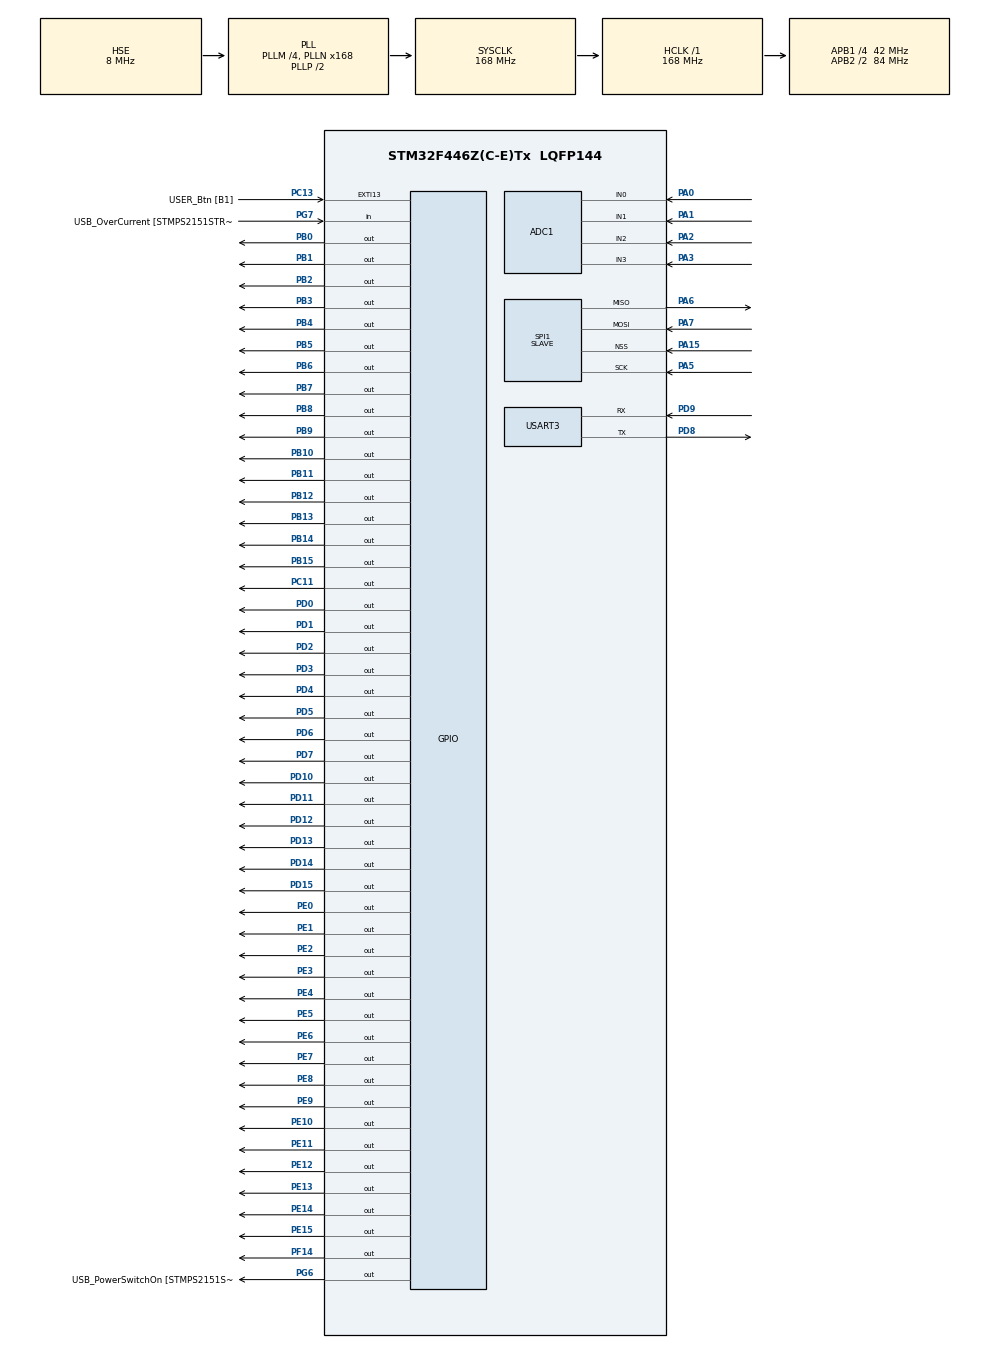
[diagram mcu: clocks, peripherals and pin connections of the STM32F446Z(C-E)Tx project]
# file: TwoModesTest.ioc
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ADC1.Channel-0\#ChannelRegularConversion=ADC_CHANNEL_0
ADC1.Channel-1\#ChannelRegularConversion=ADC_CHANNEL_1
ADC1.Channel-2\#ChannelRegularConversion=ADC_CHANNEL_2
ADC1.Channel-3\#ChannelRegularConversion=ADC_CHANNEL_3
ADC1.ContinuousConvMode=ENABLE
ADC1.DMAContinuousRequests=ENABLE
ADC1.InjNumberOfConversion=0
ADC1.NbrOfConversion=4
ADC1.NbrOfConversionFlag=1
ADC1.Rank-0\#ChannelRegularConversion=1
ADC1.Rank-1\#ChannelRegularConversion=2
ADC1.Rank-2\#ChannelRegularConversion=3
ADC1.Rank-3\#ChannelRegularConversion=4
ADC1.SamplingTime-0\#ChannelRegularConversion=ADC_SAMPLETIME_144CYCLES
ADC1.SamplingTime-1\#ChannelRegularConversion=ADC_SAMPLETIME_144CYCLES
ADC1.SamplingTime-2\#ChannelRegularConversion=ADC_SAMPLETIME_144CYCLES
ADC1.SamplingTime-3\#ChannelRegularConversion=ADC_SAMPLETIME_144CYCLES
ADC1.ScanConvMode=ENABLE
ADC1.master=1
Dma.ADC1.0.Direction=DMA_PERIPH_TO_MEMORY
Dma.ADC1.0.FIFOMode=DMA_FIFOMODE_DISABLE
Dma.ADC1.0.Instance=DMA2_Stream0
Dma.ADC1.0.MemDataAlignment=DMA_MDATAALIGN_HALFWORD
Dma.ADC1.0.MemInc=DMA_MINC_ENABLE
Dma.ADC1.0.Mode=DMA_CIRCULAR
Dma.ADC1.0.PeriphDataAlignment=DMA_PDATAALIGN_HALFWORD
Dma.ADC1.0.PeriphInc=DMA_PINC_DISABLE
Dma.ADC1.0.Priority=DMA_PRIORITY_LOW
Dma.Request0=ADC1
Mcu.Family=STM32F4
Mcu.Name=STM32F446Z(C-E)Tx
Mcu.Package=LQFP144
NVIC.DMA2_Stream0_IRQn=true\:0\:0\:false\:false\:true\:false\:true\:true
NVIC.PriorityGroup=NVIC_PRIORITYGROUP_4
NVIC.SPI1_IRQn=true\:0\:0\:false\:false\:true\:true\:true\:true
NVIC.TIM2_IRQn=true\:0\:0\:false\:false\:true\:true\:true\:true
PA0-WKUP.Signal=ADCx_IN0
PA1.Signal=ADCx_IN1
PA10.GPIO_Label=USB_ID
PA10.Signal=USB_OTG_FS_ID
PA11.GPIO_Label=USB_DM
PA11.Signal=USB_OTG_FS_DM
PA12.GPIO_Label=USB_DP
PA12.Signal=USB_OTG_FS_DP
PA13.GPIO_Label=TMS
PA13.Mode=Serial_Wire
PA13.Signal=SYS_JTMS-SWDIO
PA14.GPIO_Label=TCK
PA14.Mode=Serial_Wire
PA14.Signal=SYS_JTCK-SWCLK
PA15.Mode=NSS_Signal_Hard_Input
PA15.Signal=SPI1_NSS
PA2.Signal=ADCx_IN2
PA3.Signal=ADCx_IN3
PA5.Mode=Full_Duplex_Slave
PA5.Signal=SPI1_SCK
PA6.Mode=Full_Duplex_Slave
PA6.Signal=SPI1_MISO
PA7.Mode=Full_Duplex_Slave
PA7.Signal=SPI1_MOSI
PA8.GPIO_Label=USB_SOF [TP1]
PA8.Signal=USB_OTG_FS_SOF
PA9.GPIO_Label=USB_VBUS
PA9.Signal=USB_OTG_FS_VBUS
PB0.Signal=GPIO_Output
PB1.Signal=GPIO_Output
PB10.Signal=GPIO_Output
PB11.Signal=GPIO_Output
PB12.Signal=GPIO_Output
PB13.Signal=GPIO_Output
PB14.Signal=GPIO_Output
PB15.Signal=GPIO_Output
PB2.Signal=GPIO_Output
PB3.Signal=GPIO_Output
PB4.Signal=GPIO_Output
PB5.Signal=GPIO_Output
PB6.Signal=GPIO_Output
PB7.Signal=GPIO_Output
PB8.Signal=GPIO_Output
PB9.Signal=GPIO_Output
PC11.Signal=GPIO_Output
PC13.GPIO_Label=USER_Btn [B1]
PC13.Signal=GPXTI13
PC14-OSC32_IN.Mode=LSE-External-Oscillator
PC14-OSC32_IN.Signal=RCC_OSC32_IN
PC15-OSC32_OUT.Mode=LSE-External-Oscillator
PC15-OSC32_OUT.Signal=RCC_OSC32_OUT
PD0.Signal=GPIO_Output
PD1.Signal=GPIO_Output
PD10.Signal=GPIO_Output
PD11.Signal=GPIO_Output
PD12.Signal=GPIO_Output
PD13.Signal=GPIO_Output
PD14.Signal=GPIO_Output
PD15.Signal=GPIO_Output
PD2.Signal=GPIO_Output
PD3.Signal=GPIO_Output
PD4.Signal=GPIO_Output
PD5.Signal=GPIO_Output
PD6.Signal=GPIO_Output
PD7.Signal=GPIO_Output
PD8.Mode=Asynchronous
PD8.Signal=USART3_TX
PD9.Mode=Asynchronous
PD9.Signal=USART3_RX
PE0.Signal=GPIO_Output
PE1.Signal=GPIO_Output
PE10.Signal=GPIO_Output
PE11.Signal=GPIO_Output
PE12.Signal=GPIO_Output
PE13.Signal=GPIO_Output
PE14.Signal=GPIO_Output
PE15.Signal=GPIO_Output
PE2.Signal=GPIO_Output
PE3.Signal=GPIO_Output
PE4.Signal=GPIO_Output
PE5.Signal=GPIO_Output
PE6.Signal=GPIO_Output
PE7.Signal=GPIO_Output
PE8.Signal=GPIO_Output
PE9.Signal=GPIO_Output
PF14.Signal=GPIO_Output
PG6.GPIO_Label=USB_PowerSwitchOn [STMPS2151STR_EN]
PG6.Signal=GPIO_Output
PG7.GPIO_Label=USB_OverCurrent [STMPS2151STR_FAULT]
PG7.Signal=GPIO_Input
PH0-OSC_IN.GPIO_Label=MCO [STM32F103CBT6_PA8]
PH0-OSC_IN.Mode=HSE-External-Clock-Source
PH0-OSC_IN.Signal=RCC_OSC_IN
PH1-OSC_OUT.Mode=HSE-External-Clock-Source
PH1-OSC_OUT.Signal=RCC_OSC_OUT
ProjectManager.HeapSize=0x200
ProjectManager.StackSize=0x400
ProjectManager.TargetToolchain=STM32CubeIDE
RCC.48MHZClocksFreq_Value=24000000
RCC.AHBFreq_Value=168000000
RCC.APB1CLKDivider=RCC_HCLK_DIV4
RCC.APB1Freq_Value=42000000
RCC.APB1TimFreq_Value=84000000
RCC.APB2CLKDivider=RCC_HCLK_DIV2
RCC.APB2Freq_Value=84000000
RCC.APB2TimFreq_Value=168000000
RCC.CortexFreq_Value=168000000
RCC.HCLKFreq_Value=168000000
RCC.HSE_VALUE=8000000
RCC.HSI_VALUE=16000000
RCC.PLLM=4
RCC.PLLMUL=RCC_PLL_MUL9
RCC.PLLN=168
RCC.PLLQ=7
RCC.PLLSourceVirtual=RCC_PLLSOURCE_HSE
RCC.PRESCALERUSB=RCC_USBCLKSOURCE_PLL_DIV1_5
RCC.SYSCLKFreq_VALUE=168000000
RCC.SYSCLKSource=RCC_SYSCLKSOURCE_PLLCLK
RCC.SYSCLKSourceVirtual=RCC_SYSCLKSOURCE_PLLCLK
RCC.USBFreq_Value=48000000
RCC.VCOOutputFreq_Value=336000000
SH.ADCx_IN0.0=ADC1_IN0,IN0
SH.ADCx_IN1.0=ADC1_IN1,IN1
SH.ADCx_IN2.0=ADC1_IN2,IN2
SH.ADCx_IN3.0=ADC1_IN3,IN3
SPI1.DataSize=SPI_DATASIZE_8BIT
SPI1.Direction=SPI_DIRECTION_2LINES
SPI1.Mode=SPI_MODE_SLAVE
SPI1.VirtualNSS=VM_NSSHARD
SPI1.VirtualType=VM_SLAVE
TIM2.Prescaler=8399
USART3.VirtualMode=VM_ASYNC
VP_TIM2_VS_ClockSourceINT.Mode=Internal
board=NUCLEO-F446ZE

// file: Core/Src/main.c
/* USER CODE BEGIN Header */
/**
  ******************************************************************************
  * @file           : main.c
  * @brief          : Main program body
  ******************************************************************************
  * @attention
  *
  * Copyright (c) 2025 STMicroelectronics.
  * All rights reserved.
  *
  * This software is licensed under terms that can be found in the LICENSE file
  * in the root directory of this software component.
  * If no LICENSE file comes with this software, it is provided AS-IS.
  *
  ******************************************************************************
  */
/* USER CODE END Header */
#include "main.h"

/* USER CODE BEGIN Includes */
#include <stdio.h>
/* USER CODE END Includes */

/* USER CODE BEGIN PTD */
typedef enum {
    MODE_IDLE,
    MODE_STATIC,
    MODE_TEST
} run_mode_t;

/* USER CODE END PTD */

ADC_HandleTypeDef hadc1;
DMA_HandleTypeDef hdma_adc1;

SPI_HandleTypeDef hspi1;

TIM_HandleTypeDef htim2;

UART_HandleTypeDef huart3;

/* USER CODE BEGIN PV */
#define SYNC_WORD    0xA5A5u
#define CMD_STATIC   0xC001u
#define CMD_TEST     0xC002u
#define CMD_MON		 0xB101u
#define RX_PACKET_WORDS 9
#define RX_PACKET_BYTES 18
#define BUF_LEN 18

static volatile uint8_t rx_packet[BUF_LEN];
static volatile uint8_t rx_packet_ready = 0;
static volatile uint32_t rx_packets_ok = 0;
static volatile uint32_t rx_packets_bad = 0;

static volatile uint16_t adc_buf[2]; //should hold 4 values since we have 4 adc channels
static volatile uint8_t tx_packet[BUF_LEN] = {0}; //the tx buffer will store voltages

static volatile run_mode_t current_mode = MODE_IDLE;
static volatile uint8_t current_test_pattern = 0;

static volatile uint16_t test_pattern1[3] = {0, 0, 0};
static volatile uint16_t test_pattern2[3] = {0, 0, 0};
static volatile uint16_t test_freq_hz = 1;

static volatile uint8_t adc_ready = 0;
/* USER CODE END PV */

void SystemClock_Config(void);
static void MX_GPIO_Init(void);
static void MX_DMA_Init(void);
static void MX_SPI1_Init(void);
static void MX_TIM2_Init(void);
static void MX_USART3_UART_Init(void);
static void MX_ADC1_Init(void);
/* USER CODE BEGIN PFP */
static void ApplyPattern48(uint16_t pattern1, uint16_t pattern2, uint16_t pattern3);
static void SPI_Rearm_Packet(void);
static void SetSwitchingFrequency(uint32_t freq_hz);
/* USER CODE END PFP */

/* USER CODE BEGIN 0 */
int __io_putchar(int ch)
{
    HAL_UART_Transmit(&huart3, (uint8_t *)&ch, 1, HAL_MAX_DELAY);
    return ch;
}

static inline GPIO_PinState bit_to_state(uint16_t w, uint8_t bit)
{
    return (w & (1U << bit)) ? GPIO_PIN_SET : GPIO_PIN_RESET;
}

//static void ADC_Monitoring(void){
//
//
//	/*for (int i = 0; i < 2; i++)
//		{
//		    tx_packet[2*i]     = (((adc_buf[i] * 3300UL) / 4095UL) >> 8) & 0xFF;
//		    tx_packet[2*i + 1] = ((adc_buf[i] * 3300UL) / 4095UL) & 0xFF;
//		}
//*/
//	//adc samples way too fast sample very few half ms
//	static uint32_t last_print_tick = 0;
//
//	    if ((HAL_GetTick() - last_print_tick) < 500)
//	    {
//	        return;
//	    }
//
//	    last_print_tick = HAL_GetTick();
//	   // printf("tx packet: %02X %02X %02X %02X %02X %02X %02X %02X %02X\r\n ", tx_packet[0], tx_packet[1], tx_packet[2],
//	    			//tx_packet[3], tx_packet[4], tx_packet[5],tx_packet[6], tx_packet[7], tx_packet[8]);
//	char msg[100];
//	uint32_t vadc1_mV = (adc_buf[0] * 3300UL) / 4095UL;
//	uint32_t vin1_mV  = (vadc1_mV);
//
//    uint32_t vadc2_mV = (adc_buf[1]) * 3300UL / 4095UL;
//	uint32_t vin2_mV  = (vadc2_mV);
//
//	int n = snprintf(msg, sizeof(msg),
//    "raw1=%u Vadc1=%lu Vin1=%lu | raw2=%u Vadc2=%lu Vin2=%lu\r\n",
//	adc_buf[0], vadc1_mV, vin1_mV,
//    adc_buf[1], vadc2_mV, vin2_mV);
//
//	HAL_UART_Transmit(&huart3, (uint8_t*)msg, (uint16_t)n, HAL_MAX_DELAY);
//
//
//
//}

static void SPI_Rearm_Packet(void)
{
    //HAL_GPIO_TogglePin(GPIOC, GPIO_PIN_11, GPIO_PIN_RESET);   // transaction active

    if (HAL_SPI_TransmitReceive_IT(&hspi1,
                                   (uint8_t*)tx_packet,
                                   (uint8_t*)rx_packet,
                                   RX_PACKET_BYTES) != HAL_OK)
    {
        printf("SPI arm failed\r\n");
        //HAL_GPIO_WritePin(GPIOC, GPIO_PIN_11, GPIO_PIN_SET); // failed to arm, so not active
    }
}

static void FillMonitorTxPacket(void)
{
    uint16_t adc0, adc1;

    // Snapshot latest ADC values
    adc0 = adc_buf[0];
    adc1 = adc_buf[1];

    tx_packet[0] = 0xA5;
    tx_packet[1] = 0xA5;
    tx_packet[2] = (CMD_MON >> 8) & 0xFF;
    tx_packet[3] = CMD_MON & 0xFF;

    tx_packet[4] = (adc0 >> 8) & 0xFF;
    tx_packet[5] = adc0 & 0xFF;

    tx_packet[6] = (adc1 >> 8) & 0xFF;
    tx_packet[7] = adc1 & 0xFF;

    // fill rest with 0 for now
    for (int i = 8; i < BUF_LEN; i++)
    {
        tx_packet[i] = 0;
    }
}

static void SetSwitchingFrequency(uint32_t freq_hz)
{
    uint32_t timer_tick_hz = 10000;
    uint32_t interrupt_rate;
    uint32_t arr_value;

    if (freq_hz == 0)
    {
        freq_hz = 1;
    }

    interrupt_rate = 2U * freq_hz;

    if (interrupt_rate == 0)
    {
        interrupt_rate = 2;
    }

    if (interrupt_rate > timer_tick_hz)
    {
        interrupt_rate = timer_tick_hz;
    }

    arr_value = (timer_tick_hz / interrupt_rate) - 1U;

    __HAL_TIM_SET_AUTORELOAD(&htim2, arr_value);
    __HAL_TIM_SET_COUNTER(&htim2, 0);
    __HAL_TIM_CLEAR_FLAG(&htim2, TIM_FLAG_UPDATE);
}
void HAL_TIM_PeriodElapsedCallback(TIM_HandleTypeDef *htim)
{
    if (htim->Instance != TIM2) return;

    if (current_mode != MODE_TEST) return;

    if (current_test_pattern == 0)
    {
        ApplyPattern48(test_pattern1[0], test_pattern1[1], test_pattern1[2]);
        current_test_pattern = 1;
    }
    else
    {
        ApplyPattern48(test_pattern2[0], test_pattern2[1], test_pattern2[2]);
        current_test_pattern = 0;
    }
}

/* Apply 3 frames in order:
 *  frame0 ; CH1-CH16 (bits 0..15)
 *  frame1 ;CH17-CH32 (bits 0..15)
 *  frame2 ; CH33-CH48 (bits 0..15)
 */
static void ApplyPattern48(uint16_t pattern1, uint16_t pattern2, uint16_t pattern3)
{
    /* FRAME 1 (pattern0): CH1-CH16 */

    HAL_GPIO_WritePin(GPIOD, GPIO_PIN_1,  bit_to_state(pattern1, 0));//CH1
    HAL_GPIO_WritePin(GPIOD, GPIO_PIN_2,  bit_to_state(pattern1, 1));//CH2
    HAL_GPIO_WritePin(GPIOD, GPIO_PIN_4,  bit_to_state(pattern1, 2));//CH3
    HAL_GPIO_WritePin(GPIOB, GPIO_PIN_10, bit_to_state(pattern1, 3));//CH4
    HAL_GPIO_WritePin(GPIOB, GPIO_PIN_12, bit_to_state(pattern1, 4));//CH5
    HAL_GPIO_WritePin(GPIOB, GPIO_PIN_13, bit_to_state(pattern1, 5));//CH6
    HAL_GPIO_WritePin(GPIOD, GPIO_PIN_3,  bit_to_state(pattern1, 6));//CH7
    HAL_GPIO_WritePin(GPIOD, GPIO_PIN_7,  bit_to_state(pattern1, 7));//CH8
    HAL_GPIO_WritePin(GPIOE, GPIO_PIN_15, bit_to_state(pattern1, 8));//CH9
    HAL_GPIO_WritePin(GPIOB, GPIO_PIN_14, bit_to_state(pattern1, 9));//CH10
    //HAL_GPIO_WritePin(GPIOD, GPIO_PIN_8,  bit_to_state(pattern1, 10));//CH11 ->>>>>>
    HAL_GPIO_WritePin(GPIOB, GPIO_PIN_15, bit_to_state(pattern1, 11));//CH12
    HAL_GPIO_WritePin(GPIOB, GPIO_PIN_11, bit_to_state(pattern1, 12));//CH13
    HAL_GPIO_WritePin(GPIOD, GPIO_PIN_6,  bit_to_state(pattern1, 13));//CH14
    HAL_GPIO_WritePin(GPIOD, GPIO_PIN_5,  bit_to_state(pattern1, 14));//CH15
    HAL_GPIO_WritePin(GPIOD, GPIO_PIN_0,  bit_to_state(pattern1, 15));//CH16

    /*  FRAME 2 (pattern1): CH17-CH32 */

    HAL_GPIO_WritePin(GPIOD, GPIO_PIN_10, bit_to_state(pattern2, 0));//CH17
    HAL_GPIO_WritePin(GPIOD, GPIO_PIN_12, bit_to_state(pattern2, 1));//CH18
    HAL_GPIO_WritePin(GPIOD, GPIO_PIN_14, bit_to_state(pattern2, 2));//CH19
    HAL_GPIO_WritePin(GPIOE, GPIO_PIN_3,  bit_to_state(pattern2, 3));//CH20
    HAL_GPIO_WritePin(GPIOE, GPIO_PIN_5,  bit_to_state(pattern2, 4));//CH21
    HAL_GPIO_WritePin(GPIOE, GPIO_PIN_6,  bit_to_state(pattern2, 5));//CH22
    HAL_GPIO_WritePin(GPIOD, GPIO_PIN_11, bit_to_state(pattern2, 6));//CH23
    HAL_GPIO_WritePin(GPIOE, GPIO_PIN_1,  bit_to_state(pattern2, 7));//CH24
    HAL_GPIO_WritePin(GPIOE, GPIO_PIN_2,  bit_to_state(pattern2, 8));//CH25
    HAL_GPIO_WritePin(GPIOB, GPIO_PIN_0,  bit_to_state(pattern2, 9));//CH26
    HAL_GPIO_WritePin(GPIOB, GPIO_PIN_1,  bit_to_state(pattern2, 10));//CH27
    HAL_GPIO_WritePin(GPIOB, GPIO_PIN_2,  bit_to_state(pattern2, 11));//CH28
    HAL_GPIO_WritePin(GPIOE, GPIO_PIN_4,  bit_to_state(pattern2, 12));//CH29
    HAL_GPIO_WritePin(GPIOD, GPIO_PIN_15, bit_to_state(pattern2, 13));//CH30
    HAL_GPIO_WritePin(GPIOD, GPIO_PIN_13, bit_to_state(pattern2, 14));//CH31
    //HAL_GPIO_WritePin(GPIOD, GPIO_PIN_9,  bit_to_state(pattern2, 15));//CH32 ->>>>>>>

    /*  FRAME 3 (pattern2): CH33-CH48 */

    HAL_GPIO_WritePin(GPIOE, GPIO_PIN_8,  bit_to_state(pattern3, 0));//CH33
    HAL_GPIO_WritePin(GPIOE, GPIO_PIN_9,  bit_to_state(pattern3, 1));//CH34
    HAL_GPIO_WritePin(GPIOE, GPIO_PIN_11, bit_to_state(pattern3, 2));//CH35
    HAL_GPIO_WritePin(GPIOE, GPIO_PIN_13, bit_to_state(pattern3, 3));//CH36
    HAL_GPIO_WritePin(GPIOB, GPIO_PIN_6,  bit_to_state(pattern3, 4));//CH37
    HAL_GPIO_WritePin(GPIOB, GPIO_PIN_7,  bit_to_state(pattern3, 5));//CH38
    HAL_GPIO_WritePin(GPIOE, GPIO_PIN_10, bit_to_state(pattern3, 6));//CH39
    HAL_GPIO_WritePin(GPIOE, GPIO_PIN_14, bit_to_state(pattern3, 7));//CH40
    HAL_GPIO_WritePin(GPIOB, GPIO_PIN_3,  bit_to_state(pattern3, 8));//CH41
    HAL_GPIO_WritePin(GPIOB, GPIO_PIN_8,  bit_to_state(pattern3, 9));//CH42
    HAL_GPIO_WritePin(GPIOB, GPIO_PIN_9,  bit_to_state(pattern3, 10));//CH43
    HAL_GPIO_WritePin(GPIOE, GPIO_PIN_0,  bit_to_state(pattern3, 11));//CH44
    HAL_GPIO_WritePin(GPIOB, GPIO_PIN_5,  bit_to_state(pattern3, 12));//CH45
    HAL_GPIO_WritePin(GPIOB, GPIO_PIN_4,  bit_to_state(pattern3, 13));//CH46
    HAL_GPIO_WritePin(GPIOE, GPIO_PIN_12, bit_to_state(pattern3, 14));//CH47
    HAL_GPIO_WritePin(GPIOE, GPIO_PIN_7,  bit_to_state(pattern3, 15));//CH48

    printf("Pattern successfully applied!\r\n");
    //HAL_GPIO_WritePin(GPIOD, GPIO_PIN_7, (pattern & (1U << 1)) ? GPIO_PIN_SET : GPIO_PIN_RESET);
}

void HAL_SPI_TxRxCpltCallback(SPI_HandleTypeDef *hspi)
{
    if (hspi->Instance != SPI1) return;
    HAL_GPIO_TogglePin(GPIOC, GPIO_PIN_11);

    rx_packet_ready = 1;

}
void HAL_SPI_ErrorCallback(SPI_HandleTypeDef *hspi)
{
    if (hspi->Instance != SPI1) return;

    rx_packets_bad++;
    printf("SPI error callback\r\n");

    volatile uint32_t tmp;
    tmp = hspi->Instance->DR;
    tmp = hspi->Instance->SR;
    (void)tmp;

    SPI_Rearm_Packet();
}

void HAL_ADC_ConvCpltCallback(ADC_HandleTypeDef* hadc) //adc callback
{
    if (hadc->Instance == ADC1)
    {
        adc_ready = 1;
    }
}
/* USER CODE END 0 */

int main(void)
{

  /* MCU Configuration--------------------------------------------------------*/

  /* Reset of all peripherals, Initializes the Flash interface and the Systick. */
  HAL_Init();

  /* Configure the system clock */
  SystemClock_Config();

  /* Initialize all configured peripherals */
  MX_GPIO_Init();
  MX_DMA_Init();
  MX_SPI1_Init();
  MX_TIM2_Init();
  MX_USART3_UART_Init();
  MX_ADC1_Init();
  /* USER CODE BEGIN 2 */

  /* Boot banner so you know firmware is running */
  //const char hello[] = "Boot OK: SPI1 slave listening (16-bit, mode 0)\r\n";
  //HAL_UART_Transmit(&huart3, (uint8_t*)hello, sizeof(hello)-1, 100);

/*
  ApplyPattern48(0xFFFF, 0x0000, 0x0000);
  HAL_Delay(1000);
  ApplyPattern48(0x0000, 0xFFFF, 0x0000);
  HAL_Delay(1000);
  ApplyPattern48(0x0000, 0x0000, 0xFFFF);
  HAL_Delay(1000);
  ApplyPattern48(0, 0, 0);

  SPI_Rearm_Packet();
*/
  current_mode = MODE_IDLE;
  current_test_pattern = 0;

  test_pattern1[0] = 0;
  test_pattern1[1] = 0;
  test_pattern1[2] = 0;

  test_pattern2[0] = 0;
  test_pattern2[1] = 0;
  test_pattern2[2] = 0;

  test_freq_hz = 1;

  HAL_TIM_Base_Stop_IT(&htim2);
  __HAL_TIM_SET_COUNTER(&htim2, 0);

  ApplyPattern48(0, 0, 0);
  SPI_Rearm_Packet();

  HAL_ADC_Start_DMA(&hadc1, (uint32_t*)adc_buf, 2);//start dma

  //ApplyPattern48(0, 0, 0);
  //SPI_Rearm_Packet();

  /* Local shadow used to detect new RX events without disabling IRQs */

  /* USER CODE END 2 */

  /* Infinite loop */
  /* USER CODE BEGIN WHILE */
  while (1)
  {
	 // if (adc_ready){
		 /// adc_ready = 0;
	 // ADC_Monitoring();
	 // }
    /* USER CODE END WHILE */

    /* USER CODE BEGIN 3 */

    /* If a full 3-frame group arrived, apply it once */
	  if (rx_packet_ready)
	  {
		  printf("SPI packet received\r\n");

	      uint16_t pkt[RX_PACKET_WORDS];

	      __disable_irq();
	      for (int i = 0; i < BUF_LEN; i++){
	    	  printf("buffer pos %d: %02X \r\n    ", i,rx_packet[i]);
	      }

	     for (int i = 0; i < RX_PACKET_WORDS; i++) //TRY PROCESSING PACKET AFTER ENABLING IRQ AND ALSO REMOVING PRINTS
	      {
	          pkt[i] = ((uint16_t) rx_packet[2*i] << 8| rx_packet[2*i+1]);
	          rx_packet[2*i] = '\0';
	          //printf("packet:%04X\r\n",pkt[i]);
	    }
	      rx_packet_ready = 0;
	      __enable_irq();

//	      printf("RX: %04X %04X %04X %04X %04X %04X %04X %04X %04X\r\n",
//	             pkt[0], pkt[1], pkt[2], pkt[3],pkt[4], pkt[5], pkt[6], pkt[7], pkt[8]);
//	      for(int i =0; i< RX_PACKET_WORDS; i++){
//	    	  printf("word %d: %02X", i, rx_packet[i]);
//	      }

	      if (pkt[0] == SYNC_WORD)
	      {
	          if (pkt[1] == CMD_STATIC)
	          {
	              printf("CMD_STATIC accepted\r\n");
	              current_mode = MODE_STATIC;
	              current_test_pattern = 0;
	              HAL_TIM_Base_Stop_IT(&htim2);

	              ApplyPattern48(pkt[2], pkt[3], pkt[4]);
	              rx_packets_ok++;
	          }
	          else if (pkt[1] == CMD_TEST)
	          {
	              printf("CMD_TEST accepted\r\n");

	              test_pattern1[0] = pkt[2];
	              test_pattern1[1] = pkt[3];
	              test_pattern1[2] = pkt[4];

	              test_pattern2[0] = pkt[5];
	              test_pattern2[1] = pkt[6];
	              test_pattern2[2] = pkt[7];

	              test_freq_hz = pkt[8];
	              if (test_freq_hz == 0)
	                  test_freq_hz = 1;

	              current_mode = MODE_TEST;
	              current_test_pattern = 1;

	              HAL_TIM_Base_Stop_IT(&htim2);
	              ApplyPattern48(test_pattern1[0], test_pattern1[1], test_pattern1[2]);
	              SetSwitchingFrequency(test_freq_hz);
	              HAL_TIM_Base_Start_IT(&htim2);

	              rx_packets_ok++;
	          }
	          else if (pkt[1] == CMD_MON)
	                  {
	                      FillMonitorTxPacket();

	                  }
	          else
	          {
	              rx_packets_bad++;
	              //printf("Bad cmd: %04X\r\n", pkt[1]);
	          }
	      }
	      else
	      {
	          rx_packets_bad++;
	          //printf("Bad sync: %04X\r\n", pkt[0]);
	      }
	      // Rearm ONLY after command processing and tx_packet update
	      SPI_Rearm_Packet();

	  }
  }

  /* USER CODE END 3 */
}

void SystemClock_Config(void)
{
  RCC_OscInitTypeDef RCC_OscInitStruct = {0};
  RCC_ClkInitTypeDef RCC_ClkInitStruct = {0};

  /** Configure the main internal regulator output voltage
  */
  __HAL_RCC_PWR_CLK_ENABLE();
  __HAL_PWR_VOLTAGESCALING_CONFIG(PWR_REGULATOR_VOLTAGE_SCALE1);

  /** Initializes the RCC Oscillators according to the specified parameters
  * in the RCC_OscInitTypeDef structure.
  */
  RCC_OscInitStruct.OscillatorType = RCC_OSCILLATORTYPE_HSE;
  RCC_OscInitStruct.HSEState = RCC_HSE_BYPASS;
  RCC_OscInitStruct.PLL.PLLState = RCC_PLL_ON;
  RCC_OscInitStruct.PLL.PLLSource = RCC_PLLSOURCE_HSE;
  RCC_OscInitStruct.PLL.PLLM = 4;
  RCC_OscInitStruct.PLL.PLLN = 168;
  RCC_OscInitStruct.PLL.PLLP = RCC_PLLP_DIV2;
  RCC_OscInitStruct.PLL.PLLQ = 7;
  RCC_OscInitStruct.PLL.PLLR = 2;
  if (HAL_RCC_OscConfig(&RCC_OscInitStruct) != HAL_OK)
  {
    Error_Handler();
  }

  /** Initializes the CPU, AHB and APB buses clocks
  */
  RCC_ClkInitStruct.ClockType = RCC_CLOCKTYPE_HCLK|RCC_CLOCKTYPE_SYSCLK
                              |RCC_CLOCKTYPE_PCLK1|RCC_CLOCKTYPE_PCLK2;
  RCC_ClkInitStruct.SYSCLKSource = RCC_SYSCLKSOURCE_PLLCLK;
  RCC_ClkInitStruct.AHBCLKDivider = RCC_SYSCLK_DIV1;
  RCC_ClkInitStruct.APB1CLKDivider = RCC_HCLK_DIV4;
  RCC_ClkInitStruct.APB2CLKDivider = RCC_HCLK_DIV2;

  if (HAL_RCC_ClockConfig(&RCC_ClkInitStruct, FLASH_LATENCY_5) != HAL_OK)
  {
    Error_Handler();
  }
}

static void MX_ADC1_Init(void)
{

  ADC_ChannelConfTypeDef sConfig = {0};

  /** Configure the global features of the ADC (Clock, Resolution, Data Alignment and number of conversion)
  */
  hadc1.Instance = ADC1;
  hadc1.Init.ClockPrescaler = ADC_CLOCK_SYNC_PCLK_DIV4;
  hadc1.Init.Resolution = ADC_RESOLUTION_12B;
  hadc1.Init.ScanConvMode = ENABLE;
  hadc1.Init.ContinuousConvMode = ENABLE;
  hadc1.Init.DiscontinuousConvMode = DISABLE;
  hadc1.Init.ExternalTrigConvEdge = ADC_EXTERNALTRIGCONVEDGE_NONE;
  hadc1.Init.ExternalTrigConv = ADC_SOFTWARE_START;
  hadc1.Init.DataAlign = ADC_DATAALIGN_RIGHT;
  hadc1.Init.NbrOfConversion = 4;
  hadc1.Init.DMAContinuousRequests = ENABLE;
  hadc1.Init.EOCSelection = ADC_EOC_SINGLE_CONV;
  if (HAL_ADC_Init(&hadc1) != HAL_OK)
  {
    Error_Handler();
  }

  /** Configure for the selected ADC regular channel its corresponding rank in the sequencer and its sample time.
  */
  sConfig.Channel = ADC_CHANNEL_0;
  sConfig.Rank = 1;
  sConfig.SamplingTime = ADC_SAMPLETIME_144CYCLES;
  if (HAL_ADC_ConfigChannel(&hadc1, &sConfig) != HAL_OK)
  {
    Error_Handler();
  }

  /** Configure for the selected ADC regular channel its corresponding rank in the sequencer and its sample time.
  */
  sConfig.Channel = ADC_CHANNEL_1;
  sConfig.Rank = 2;
  if (HAL_ADC_ConfigChannel(&hadc1, &sConfig) != HAL_OK)
  {
    Error_Handler();
  }

  /** Configure for the selected ADC regular channel its corresponding rank in the sequencer and its sample time.
  */
  sConfig.Channel = ADC_CHANNEL_2;
  sConfig.Rank = 3;
  if (HAL_ADC_ConfigChannel(&hadc1, &sConfig) != HAL_OK)
  {
    Error_Handler();
  }

  /** Configure for the selected ADC regular channel its corresponding rank in the sequencer and its sample time.
  */
  sConfig.Channel = ADC_CHANNEL_3;
  sConfig.Rank = 4;
  if (HAL_ADC_ConfigChannel(&hadc1, &sConfig) != HAL_OK)
  {
    Error_Handler();
  }

}

static void MX_SPI1_Init(void)
{

  /* SPI1 parameter configuration*/
  hspi1.Instance = SPI1;
  hspi1.Init.Mode = SPI_MODE_SLAVE;
  hspi1.Init.Direction = SPI_DIRECTION_2LINES;
  hspi1.Init.DataSize = SPI_DATASIZE_8BIT;
  hspi1.Init.CLKPolarity = SPI_POLARITY_LOW;
  hspi1.Init.CLKPhase = SPI_PHASE_1EDGE;
  hspi1.Init.NSS = SPI_NSS_HARD_INPUT;
  hspi1.Init.FirstBit = SPI_FIRSTBIT_MSB;
  hspi1.Init.TIMode = SPI_TIMODE_DISABLE;
  hspi1.Init.CRCCalculation = SPI_CRCCALCULATION_DISABLE;
  hspi1.Init.CRCPolynomial = 10;
  if (HAL_SPI_Init(&hspi1) != HAL_OK)
  {
    Error_Handler();
  }

}

static void MX_TIM2_Init(void)
{

  TIM_ClockConfigTypeDef sClockSourceConfig = {0};
  TIM_MasterConfigTypeDef sMasterConfig = {0};

  htim2.Instance = TIM2;
  htim2.Init.Prescaler = 8399;
  htim2.Init.CounterMode = TIM_COUNTERMODE_UP;
  htim2.Init.Period = 4294967295;
  htim2.Init.ClockDivision = TIM_CLOCKDIVISION_DIV1;
  htim2.Init.AutoReloadPreload = TIM_AUTORELOAD_PRELOAD_DISABLE;
  if (HAL_TIM_Base_Init(&htim2) != HAL_OK)
  {
    Error_Handler();
  }
  sClockSourceConfig.ClockSource = TIM_CLOCKSOURCE_INTERNAL;
  if (HAL_TIM_ConfigClockSource(&htim2, &sClockSourceConfig) != HAL_OK)
  {
    Error_Handler();
  }
  sMasterConfig.MasterOutputTrigger = TIM_TRGO_RESET;
  sMasterConfig.MasterSlaveMode = TIM_MASTERSLAVEMODE_DISABLE;
  if (HAL_TIMEx_MasterConfigSynchronization(&htim2, &sMasterConfig) != HAL_OK)
  {
    Error_Handler();
  }

}

static void MX_USART3_UART_Init(void)
{

  huart3.Instance = USART3;
  huart3.Init.BaudRate = 115200;
  huart3.Init.WordLength = UART_WORDLENGTH_8B;
  huart3.Init.StopBits = UART_STOPBITS_1;
  huart3.Init.Parity = UART_PARITY_NONE;
  huart3.Init.Mode = UART_MODE_TX_RX;
  huart3.Init.HwFlowCtl = UART_HWCONTROL_NONE;
  huart3.Init.OverSampling = UART_OVERSAMPLING_16;
  if (HAL_UART_Init(&huart3) != HAL_OK)
  {
    Error_Handler();
  }

}

static void MX_DMA_Init(void)
{

  /* DMA controller clock enable */
  __HAL_RCC_DMA2_CLK_ENABLE();

  /* DMA interrupt init */
  /* DMA2_Stream0_IRQn interrupt configuration */
  HAL_NVIC_SetPriority(DMA2_Stream0_IRQn, 0, 0);
  HAL_NVIC_EnableIRQ(DMA2_Stream0_IRQn);

}

static void MX_GPIO_Init(void)
{
  GPIO_InitTypeDef GPIO_InitStruct = {0};

  /* GPIO Ports Clock Enable */
  __HAL_RCC_GPIOE_CLK_ENABLE();
  __HAL_RCC_GPIOC_CLK_ENABLE();
  __HAL_RCC_GPIOH_CLK_ENABLE();
  __HAL_RCC_GPIOA_CLK_ENABLE();
  __HAL_RCC_GPIOB_CLK_ENABLE();
  __HAL_RCC_GPIOF_CLK_ENABLE();
  __HAL_RCC_GPIOD_CLK_ENABLE();
  __HAL_RCC_GPIOG_CLK_ENABLE();

  /*Configure GPIO pin Output Level */
  HAL_GPIO_WritePin(GPIOE, GPIO_PIN_2|GPIO_PIN_3|GPIO_PIN_4|GPIO_PIN_5
                          |GPIO_PIN_6|GPIO_PIN_7|GPIO_PIN_8|GPIO_PIN_9
                          |GPIO_PIN_10|GPIO_PIN_11|GPIO_PIN_12|GPIO_PIN_13
                          |GPIO_PIN_14|GPIO_PIN_15|GPIO_PIN_0|GPIO_PIN_1, GPIO_PIN_RESET);

  /*Configure GPIO pin Output Level */
  HAL_GPIO_WritePin(GPIOB, GPIO_PIN_0|GPIO_PIN_1|GPIO_PIN_2|GPIO_PIN_10
                          |GPIO_PIN_11|GPIO_PIN_12|GPIO_PIN_13|GPIO_PIN_14
                          |GPIO_PIN_15|GPIO_PIN_3|GPIO_PIN_4|GPIO_PIN_5
                          |GPIO_PIN_6|GPIO_PIN_7|GPIO_PIN_8|GPIO_PIN_9, GPIO_PIN_RESET);

  /*Configure GPIO pin Output Level */
  HAL_GPIO_WritePin(GPIOF, GPIO_PIN_14, GPIO_PIN_RESET);

  /*Configure GPIO pin Output Level */
  HAL_GPIO_WritePin(GPIOD, GPIO_PIN_10|GPIO_PIN_11|GPIO_PIN_12|GPIO_PIN_13
                          |GPIO_PIN_14|GPIO_PIN_15|GPIO_PIN_0|GPIO_PIN_1
                          |GPIO_PIN_2|GPIO_PIN_3|GPIO_PIN_4|GPIO_PIN_5
                          |GPIO_PIN_6|GPIO_PIN_7, GPIO_PIN_RESET);

  /*Configure GPIO pin Output Level */
  HAL_GPIO_WritePin(USB_PowerSwitchOn_GPIO_Port, USB_PowerSwitchOn_Pin, GPIO_PIN_RESET);

  /*Configure GPIO pin Output Level */
  HAL_GPIO_WritePin(GPIOC, GPIO_PIN_11, GPIO_PIN_RESET);

  /*Configure GPIO pins : PE2 PE3 PE4 PE5
                           PE6 PE7 PE8 PE9
                           PE10 PE11 PE12 PE13
                           PE14 PE15 PE0 PE1 */
  GPIO_InitStruct.Pin = GPIO_PIN_2|GPIO_PIN_3|GPIO_PIN_4|GPIO_PIN_5
                          |GPIO_PIN_6|GPIO_PIN_7|GPIO_PIN_8|GPIO_PIN_9
                          |GPIO_PIN_10|GPIO_PIN_11|GPIO_PIN_12|GPIO_PIN_13
                          |GPIO_PIN_14|GPIO_PIN_15|GPIO_PIN_0|GPIO_PIN_1;
  GPIO_InitStruct.Mode = GPIO_MODE_OUTPUT_PP;
  GPIO_InitStruct.Pull = GPIO_NOPULL;
  GPIO_InitStruct.Speed = GPIO_SPEED_FREQ_LOW;
  HAL_GPIO_Init(GPIOE, &GPIO_InitStruct);

  /*Configure GPIO pin : USER_Btn_Pin */
  GPIO_InitStruct.Pin = USER_Btn_Pin;
  GPIO_InitStruct.Mode = GPIO_MODE_IT_RISING;
  GPIO_InitStruct.Pull = GPIO_NOPULL;
  HAL_GPIO_Init(USER_Btn_GPIO_Port, &GPIO_InitStruct);

  /*Configure GPIO pins : PB0 PB1 PB2 PB10
                           PB11 PB12 PB13 PB14
                           PB15 PB3 PB4 PB5
                           PB6 PB7 PB8 PB9 */
  GPIO_InitStruct.Pin = GPIO_PIN_0|GPIO_PIN_1|GPIO_PIN_2|GPIO_PIN_10
                          |GPIO_PIN_11|GPIO_PIN_12|GPIO_PIN_13|GPIO_PIN_14
                          |GPIO_PIN_15|GPIO_PIN_3|GPIO_PIN_4|GPIO_PIN_5
                          |GPIO_PIN_6|GPIO_PIN_7|GPIO_PIN_8|GPIO_PIN_9;
  GPIO_InitStruct.Mode = GPIO_MODE_OUTPUT_PP;
  GPIO_InitStruct.Pull = GPIO_NOPULL;
  GPIO_InitStruct.Speed = GPIO_SPEED_FREQ_LOW;
  HAL_GPIO_Init(GPIOB, &GPIO_InitStruct);

  /*Configure GPIO pin : PF14 */
  GPIO_InitStruct.Pin = GPIO_PIN_14;
  GPIO_InitStruct.Mode = GPIO_MODE_OUTPUT_PP;
  GPIO_InitStruct.Pull = GPIO_NOPULL;
  GPIO_InitStruct.Speed = GPIO_SPEED_FREQ_LOW;
  HAL_GPIO_Init(GPIOF, &GPIO_InitStruct);

  /*Configure GPIO pins : PD10 PD11 PD12 PD13
                           PD14 PD15 PD0 PD1
                           PD2 PD3 PD4 PD5
                           PD6 PD7 */
  GPIO_InitStruct.Pin = GPIO_PIN_10|GPIO_PIN_11|GPIO_PIN_12|GPIO_PIN_13
                          |GPIO_PIN_14|GPIO_PIN_15|GPIO_PIN_0|GPIO_PIN_1
                          |GPIO_PIN_2|GPIO_PIN_3|GPIO_PIN_4|GPIO_PIN_5
                          |GPIO_PIN_6|GPIO_PIN_7;
  GPIO_InitStruct.Mode = GPIO_MODE_OUTPUT_PP;
  GPIO_InitStruct.Pull = GPIO_NOPULL;
  GPIO_InitStruct.Speed = GPIO_SPEED_FREQ_LOW;
  HAL_GPIO_Init(GPIOD, &GPIO_InitStruct);

  /*Configure GPIO pin : USB_PowerSwitchOn_Pin */
  GPIO_InitStruct.Pin = USB_PowerSwitchOn_Pin;
  GPIO_InitStruct.Mode = GPIO_MODE_OUTPUT_PP;
  GPIO_InitStruct.Pull = GPIO_NOPULL;
  GPIO_InitStruct.Speed = GPIO_SPEED_FREQ_LOW;
  HAL_GPIO_Init(USB_PowerSwitchOn_GPIO_Port, &GPIO_InitStruct);

  /*Configure GPIO pin : USB_OverCurrent_Pin */
  GPIO_InitStruct.Pin = USB_OverCurrent_Pin;
  GPIO_InitStruct.Mode = GPIO_MODE_INPUT;
  GPIO_InitStruct.Pull = GPIO_NOPULL;
  HAL_GPIO_Init(USB_OverCurrent_GPIO_Port, &GPIO_InitStruct);

  /*Configure GPIO pins : USB_SOF_Pin USB_ID_Pin USB_DM_Pin USB_DP_Pin */
  GPIO_InitStruct.Pin = USB_SOF_Pin|USB_ID_Pin|USB_DM_Pin|USB_DP_Pin;
  GPIO_InitStruct.Mode = GPIO_MODE_AF_PP;
  GPIO_InitStruct.Pull = GPIO_NOPULL;
  GPIO_InitStruct.Speed = GPIO_SPEED_FREQ_VERY_HIGH;
  GPIO_InitStruct.Alternate = GPIO_AF10_OTG_FS;
  HAL_GPIO_Init(GPIOA, &GPIO_InitStruct);

  /*Configure GPIO pin : USB_VBUS_Pin */
  GPIO_InitStruct.Pin = USB_VBUS_Pin;
  GPIO_InitStruct.Mode = GPIO_MODE_INPUT;
  GPIO_InitStruct.Pull = GPIO_NOPULL;
  HAL_GPIO_Init(USB_VBUS_GPIO_Port, &GPIO_InitStruct);

  /*Configure GPIO pin : PC11 */
  GPIO_InitStruct.Pin = GPIO_PIN_11;
  GPIO_InitStruct.Mode = GPIO_MODE_OUTPUT_PP;
  GPIO_InitStruct.Pull = GPIO_NOPULL;
  GPIO_InitStruct.Speed = GPIO_SPEED_FREQ_LOW;
  HAL_GPIO_Init(GPIOC, &GPIO_InitStruct);

}

void Error_Handler(void)
{
  __disable_irq();
  while (1)
  {
  }
}
